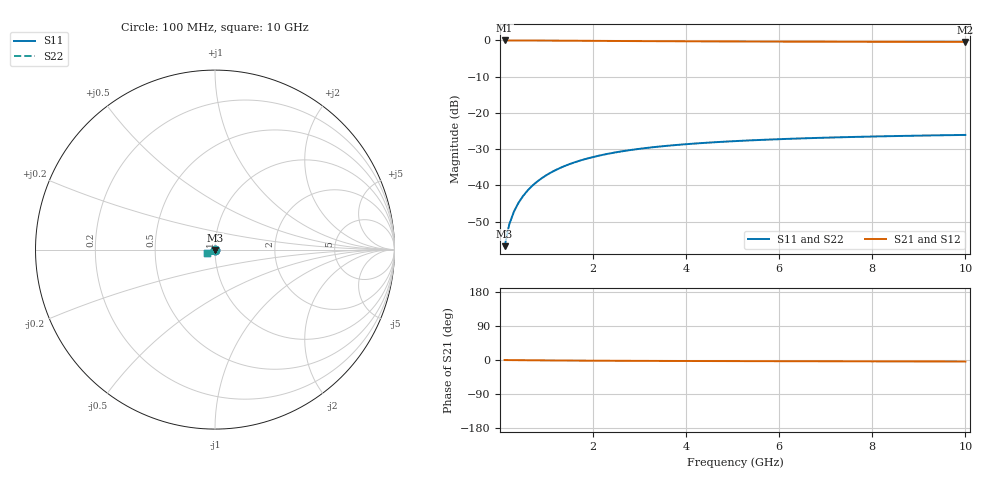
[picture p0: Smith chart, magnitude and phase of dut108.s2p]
! Touchstone file exported from HFSS 2024.1.0
!  File:  C:/UserFiles/LocalFiles/RDL_TSV_Batchsim/temp_TSV1_108_1778765045.aedt
!  Generated:  09:28:13 PM May 14, 2026
!  Design:  TSV1
!  Project:  temp_TSV1_108_1778765045
!  Setup:  Setup1
!  Solution:  Sweep
! Variables:
!  dtsv = 15.61um
!  hbump = 3um
!  htsv = 57.13um
!  lrdl = 252.1521522um
!  p = 40
!  p1 = 49.1um
!  t = 500um
!  trdl = 3um
!  wrdl = 24.89489489um
# GHz S MA R 50.000000
! Terminal data exported
! Port[1] = TSV22_T1
! Port[2] = TSV22_T2
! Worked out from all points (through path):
!   100 points, 100 MHz to 10 GHz, reference 50 ohm
!   highest |S21| = 0.00 dB at 100 MHz (marker M1); lowest = -0.4 dB at 10 GHz (marker M2)
!   lowest |S11| = -56.8 dB at 100 MHz (marker M3), VSWR 1.00, Z = 50 - j0.144 ohm
!   |S11| at or under -10 dB: start of sweep to end of sweep
!   |S22| runs from -56.8 to -26.1 dB; largest |S21 - S12| = 3.2e-15
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0.1  0.001444 -89.1  0.9999 -0.1  0.9999 -0.1  0.001444 -89.1
! Gamma 0 0 0 0
! Port Impedance 50 0 50 0
0.2  0.00289 -92.3  0.9997 -0.2  0.9997 -0.2  0.00289 -92.3
0.3  0.004331 -94.5  0.9995 -0.3  0.9995 -0.3  0.004331 -94.5
0.4  0.00576 -96.4  0.9992 -0.5  0.9992 -0.5  0.00576 -96.4
0.5  0.007172 -98.2  0.9988 -0.6  0.9988 -0.6  0.007172 -98.2
0.6  0.008562 -99.9  0.9983 -0.7  0.9983 -0.7  0.008562 -99.9
0.7  0.009927 -101.6  0.9978 -0.8  0.9978 -0.8  0.009927 -101.6
0.8  0.01126 -103.2  0.9972 -0.9  0.9972 -0.9  0.01126 -103.2
0.9  0.01257 -104.8  0.9966 -1.0  0.9966 -1.0  0.01257 -104.8
1.1  0.01508 -107.9  0.9951 -1.2  0.9951 -1.2  0.01508 -107.9
1.4  0.01858 -112.3  0.9927 -1.4  0.9927 -1.4  0.01858 -112.3
1.6  0.02072 -115.0  0.991 -1.5  0.991 -1.5  0.02072 -115.0
1.8  0.02271 -117.5  0.9893 -1.7  0.9893 -1.7  0.02271 -117.5
2.1  0.02543 -121.0  0.9867 -1.9  0.9867 -1.9  0.02543 -121.0
2.5  0.02859 -125.2  0.9834 -2.1  0.9834 -2.1  0.02859 -125.2
2.9  0.03129 -128.8  0.9803 -2.2  0.9803 -2.2  0.03129 -128.8
3.4  0.03414 -132.7  0.9768 -2.4  0.9768 -2.4  0.03414 -132.7
4.2  0.03778 -137.8  0.972 -2.7  0.972 -2.7  0.03778 -137.8
5.1  0.0409 -142.3  0.9676 -2.9  0.9676 -2.9  0.0409 -142.3
6.7  0.04488 -148.3  0.9618 -3.3  0.9618 -3.3  0.04488 -148.3
8.4  0.04773 -152.8  0.9574 -3.7  0.9574 -3.7  0.04773 -152.8
10  0.04962 -156.1  0.9545 -4.0  0.9545 -4.0  0.04962 -156.1
